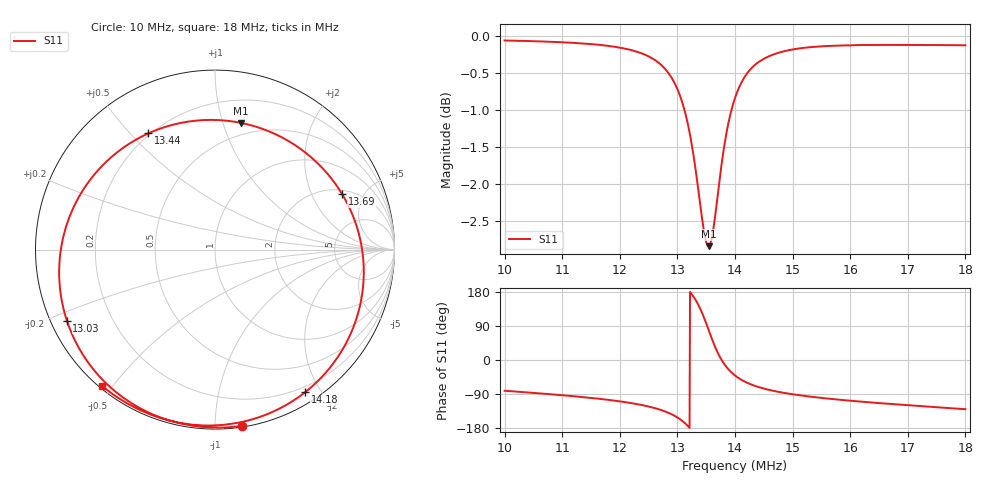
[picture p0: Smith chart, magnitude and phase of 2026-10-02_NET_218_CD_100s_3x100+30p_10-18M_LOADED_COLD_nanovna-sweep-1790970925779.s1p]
! NanoVNA Web complex sweep
! Processing: unaveraged complex samples; linear segment spacing; no smoothing
# Hz S RI R 50
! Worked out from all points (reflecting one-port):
!   1010 points, 10 MHz to 18 MHz, reference 50 ohm
!   lowest |S11| = -2.8 dB at 13.54 MHz (marker M1), VSWR 6.16, Z = 19.5 + j57.3 ohm
!   phase of S11 starts at -81 deg and turns -409 deg over the sweep
!   S11 on the Smith chart (normalised r, x): 10 MHz: 0.01, -1.17; 13.03 MHz: 0.05, -0.23; 13.44 MHz: 0.19, +0.56; 13.69 MHz: 2.23, +3.42; 14.18 MHz: 0.13, -1.81; 18 MHz: 0.01, -0.47
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1e7  0.1525 -0.9819
1.100698e7  -0.0519 -0.9895
1.200604e7  -0.3239 -0.9275
1.236284e7  -0.4612 -0.8583
1.26245e7  -0.5885 -0.7621
1.283858e7  -0.7128 -0.6204
1.300509e7  -0.8129 -0.4309
1.302888e7  -0.8255 -0.395
1.31716e7  -0.8683 -0.1139
1.327468e7  -0.8156 0.1694
1.33619e7  -0.653 0.4405
1.344119e7  -0.3707 0.6478
1.349669e7  -0.1039 0.7187
1.354426e7  0.1437 0.7062
1.358391e7  0.3406 0.6413
1.362355e7  0.5118 0.5343
1.368698e7  0.7084 0.3087
1.375042e7  0.807 0.0656
1.381385e7  0.8283 -0.1557
1.3909e7  0.7767 -0.4176
1.400414e7  0.6833 -0.6
1.417858e7  0.5022 -0.7947
1.43213e7  0.3744 -0.8781
1.449574e7  0.2467 -0.9334
1.50032e7  -0.00816 -0.9799
1.600225e7  -0.2955 -0.9404
1.700131e7  -0.4853 -0.8591
1.800036e7  -0.6314 -0.7575
